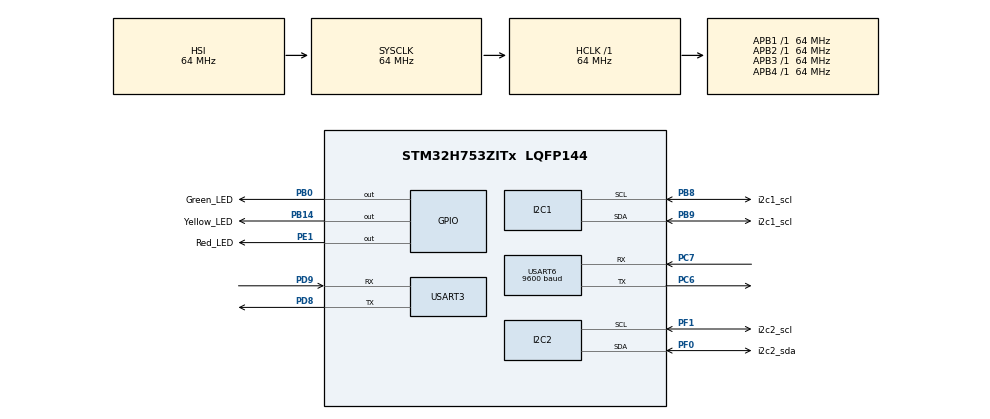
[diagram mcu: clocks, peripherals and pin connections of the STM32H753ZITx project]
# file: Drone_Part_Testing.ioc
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CORTEX_M7.default_mode_Activation=1
Mcu.Family=STM32H7
Mcu.Name=STM32H753ZITx
Mcu.Package=LQFP144
NVIC.PriorityGroup=NVIC_PRIORITYGROUP_4
PB0.GPIO_Label=Green_LED
PB0.Signal=GPIO_Output
PB14.GPIO_Label=Yellow_LED
PB14.Signal=GPIO_Output
PB8.GPIO_Label=i2c1_scl
PB8.Mode=I2C
PB8.Signal=I2C1_SCL
PB9.GPIO_Label=i2c1_scl
PB9.Mode=I2C
PB9.Signal=I2C1_SDA
PC6.Mode=Asynchronous
PC6.Signal=USART6_TX
PC7.Mode=Asynchronous
PC7.Signal=USART6_RX
PD8.Mode=Asynchronous
PD8.Signal=USART3_TX
PD9.GPIO_ModeDefaultPP=GPIO_MODE_AF_PP
PD9.GPIO_PuPd=GPIO_NOPULL
PD9.GPIO_Speed=GPIO_SPEED_FREQ_LOW
PD9.Mode=Asynchronous
PD9.Signal=USART3_RX
PE1.GPIO_Label=Red_LED
PE1.Signal=GPIO_Output
PF0.GPIO_Label=i2c2_sda
PF0.Mode=I2C
PF0.Signal=I2C2_SDA
PF1.GPIO_Label=i2c2_scl
PF1.Mode=I2C
PF1.Signal=I2C2_SCL
ProjectManager.HeapSize=0x200
ProjectManager.StackSize=0x400
ProjectManager.TargetToolchain=STM32CubeIDE
RCC.ADCFreq_Value=129000000
RCC.APB1Freq_Value=64000000
RCC.APB2Freq_Value=64000000
RCC.APB3Freq_Value=64000000
RCC.APB4Freq_Value=64000000
RCC.CortexFreq_Value=64000000
RCC.HCLKFreq_Value=64000000
RCC.SYSCLKFreq_VALUE=64000000
RCC.USBFreq_Value=129000000
USART3.VirtualMode-Asynchronous=VM_ASYNC
USART6.BaudRate=9600
USART6.DMADisableonRxErrorParam=ADVFEATURE_DMA_DISABLEONRXERROR
USART6.VirtualMode-Asynchronous=VM_ASYNC
VP_MEMORYMAP_VS_MEMORYMAP.Mode=CurAppReg
board=custom

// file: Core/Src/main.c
/* USER CODE BEGIN Header */
/**
 ******************************************************************************
 * @file           : main.c
 * @brief          : Main program body
 ******************************************************************************
 * @attention
 *
 * Copyright (c) 2025 STMicroelectronics.
 * All rights reserved.
 *
 * This software is licensed under terms that can be found in the LICENSE file
 * in the root directory of this software component.
 * If no LICENSE file comes with this software, it is provided AS-IS.
 *
 ******************************************************************************
 */
/* USER CODE END Header */
#include "main.h"

/* USER CODE BEGIN Includes */
#include <stdio.h>
#include "string.h"
#include "sensors/sensor_if.h"
#include "sensors/dps310.h"
#include "sensors/icm42688.h"
#include "sensors/gps6m.h"
/* USER CODE END Includes */

I2C_HandleTypeDef hi2c1;
I2C_HandleTypeDef hi2c2;

UART_HandleTypeDef huart3;
UART_HandleTypeDef huart6;

/* USER CODE BEGIN PV */
static sensor_if_t if_dps, if_icm, if_gps;
static dps310_t    dps;
static icm42688_t  icm;
static gps6m_t 	   gps;

/* USER CODE END PV */

void SystemClock_Config(void);
static void MPU_Config(void);
static void MX_GPIO_Init(void);
static void MX_I2C1_Init(void);
static void MX_USART3_UART_Init(void);
static void MX_I2C2_Init(void);
static void MX_USART6_UART_Init(void);
/* USER CODE BEGIN PFP */
void I2C_Scan(I2C_HandleTypeDef *hi2c);
/* USER CODE END PFP */

/* USER CODE BEGIN 0 */
typedef struct {
	float x;          // altitude (m)
	float v;          // vertical speed (m/s)
	float P00, P01, P10, P11;  // covariance
} AltKF;

static void altkf_init(AltKF *kf, float x0) {
	kf->x = x0; kf->v = 0.0f;
	kf->P00 = 10.0f; kf->P01 = 0.0f;
	kf->P10 = 0.0f;  kf->P11 = 10.0f;
}

static void altkf_predict(AltKF *kf, float dt, float Q_pos, float Q_vel) {
	// x = x + v*dt
	kf->x += kf->v * dt;
	// v = v
	// P = F P F' + Q, F = [[1 dt],[0 1]]
	float P00 = kf->P00 + dt*(kf->P10 + kf->P01) + dt*dt*kf->P11 + Q_pos;
	float P01 = kf->P01 + dt*kf->P11;
	float P10 = kf->P10 + dt*kf->P11;
	float P11 = kf->P11 + Q_vel;
	kf->P00=P00; kf->P01=P01; kf->P10=P10; kf->P11=P11;
}

static void altkf_update_scalar(AltKF *kf, float z, float R) {
	// H = [1 0]
	float y  = z - kf->x;
	float S  = kf->P00 + R;
	float K0 = kf->P00 / S;
	float K1 = kf->P10 / S;
	kf->x += K0 * y;
	kf->v += K1 * y;
	float P00 = (1.0f - K0) * kf->P00;
	float P01 = (1.0f - K0) * kf->P01;
	float P10 = kf->P10 - K1 * kf->P00;
	float P11 = kf->P11 - K1 * kf->P01;
	kf->P00=P00; kf->P01=P01; kf->P10=P10; kf->P11=P11;
}

/* Simple EMA smoother for GPS */
typedef struct {
	int    seeded;
	double lat_deg_f;
	double lon_deg_f;
	float  spd_mps_f;
	float  course_deg_f;
} GpsEMA;

static void gps_ema_reset(GpsEMA *f) { memset(f, 0, sizeof(*f)); }
static void gps_ema_update(GpsEMA *f, const gps6m_t *g, float alpha_latlon, float alpha_spd) {
	if (!f->seeded) {
		f->lat_deg_f = g->lat_deg;
		f->lon_deg_f = g->lon_deg;
		f->spd_mps_f = g->speed_mps;
		f->course_deg_f = g->course_deg;
		f->seeded = 1;
		return;
	}
	f->lat_deg_f = f->lat_deg_f + alpha_latlon * (g->lat_deg - f->lat_deg_f);
	f->lon_deg_f = f->lon_deg_f + alpha_latlon * (g->lon_deg - f->lon_deg_f);
	f->spd_mps_f = f->spd_mps_f + alpha_spd    * (g->speed_mps - f->spd_mps_f);
	// course is meaningless at low speed, keep last when speed < 0.5 m/s
	if (g->speed_mps > 0.5f) {
		float e = g->course_deg - f->course_deg_f;
		// wrap to [-180,180]
		while (e > 180.0f) e -= 360.0f;
		while (e < -180.0f) e += 360.0f;
		f->course_deg_f += alpha_spd * e;
		// wrap back to [0,360)
		if (f->course_deg_f < 0.0f)  f->course_deg_f += 360.0f;
		if (f->course_deg_f >= 360.0f) f->course_deg_f -= 360.0f;
	}
}

/* Baro <-> QNH helper: compute sea-level pressure P0 from local P,z */
static float baro_compute_P0(float P_pa, float alt_m) {
	// Standard atmosphere: P = P0 * (1 - L*h/T0)^(g*M/R/L)
	// Invert for P0. Constants for ISA:
	const float T0 = 288.15f;     // K
	const float L  = 0.0065f;     // K/m
	const float g0 = 9.80665f;    // m/s^2
	const float R  = 287.053f;    // J/(kg*K)
	const float expn = g0/(R*L);  // ~5.25588
	float ratio = 1.0f - (L*alt_m)/T0;
	if (ratio <= 0.0f) ratio = 0.0001f;
	float P0 = P_pa / powf(ratio, expn);
	return P0;  // Pa
}

/* Keep global filter state */
static AltKF  altkf;
static GpsEMA gpsf;
static uint8_t filters_seeded = 0;

/* One-step function you asked for: reads sensors, updates filters, and prints */
static void sensors_step(float dt_s,
		float Q_pos, float Q_vel,
		float R_baro, float R_gps,
		float ema_latlon_alpha, float ema_spd_alpha,
		float *alt_fused_out) {
	// 1) Read all devices (non-blocking reads)
	if_dps.vTable->read(&if_dps);
	if_icm.vTable->read(&if_icm);

	if (HAL_GetTick() - gps.last_update_ms > 150) {
		uint32_t t_end = HAL_GetTick() + 60;         // ~60 ms budget

		do {
			if_gps.vTable->read(&if_gps);
			if (HAL_GetTick() - gps.last_update_ms <= 50) break; // fresh enough
		} while ((int32_t)(HAL_GetTick() - t_end) < 0);

	} else {
		// still give it a light read so we don't fall behind
		if_gps.vTable->read(&if_gps);
	}

	// 2) Seed filters once we have a GPS fix
	if (!filters_seeded && gps.has_fix) {
		altkf_init(&altkf, gps.alt_m);  // start from GPS altitude
		gps_ema_reset(&gpsf);
		filters_seeded = 1;
	}

	// 3) Predict step for altitude KF
	altkf_predict(&altkf, dt_s, Q_pos, Q_vel);

	// 4) Baro absolute altitude, using your current DPS altitude.
	// If your dps.altitude already uses a good P0, this is fine.
	// Otherwise, compute dps.altitude yourself from pressure and a calibrated P0.
	float z_baro = (float)dps.altitude;

	// 5) Update with baro at high rate
	altkf_update_scalar(&altkf, z_baro, R_baro);

	// 6) If a fresh GPS fix is present, update with GPS altitude as absolute correction
	if (gps.has_fix) {
		altkf_update_scalar(&altkf, (float)gps.alt_m, R_gps);
		gps_ema_update(&gpsf, &gps, ema_latlon_alpha, ema_spd_alpha);
	}

	if (alt_fused_out) *alt_fused_out = altkf.x;

	// 7) Print once per call for visibility
	printf("ICM temp: %.2f C\r\n", icm.last_temp_c);
	printf("ICM Accel (g): [%.2f, %.2f, %.2f]\r\n", (double)icm.accel_g[0], (double)icm.accel_g[1], (double)icm.accel_g[2]);
	printf("ICM Gyro  (dps): [%.2f, %.2f, %.2f]\r\n", (double)icm.gyro_dps[0], (double)icm.gyro_dps[1], (double)icm.gyro_dps[2]);

	printf("DPS Pressure: %.2f Pa   Temp: %.2f C   Alt_raw: %.2f m\r\n",
			(double)dps.pressure, (double)dps.temperature, (double)dps.altitude);

	if (gps.has_fix) {
		printf("[gps] FIX sats=%u hdop=%.2f lat=%.6f lon=%.6f alt=%.1f m spd=%.2f m/s cog=%.1f utc=%06lu\r\n",
				gps.sats_used, gps.hdop, gpsf.lat_deg_f, gpsf.lon_deg_f, gps.alt_m,
				gpsf.spd_mps_f, gpsf.course_deg_f, (unsigned long)gps.utc_hms);
	} else {
		printf("[gps] NO FIX, sats=%u hdop=%.2f\r\n", gps.sats_used, gps.hdop);
	}

	printf("[fuse] alt_fused=%.2f m  v_z=%.2f m/s\r\n", (double)altkf.x, (double)altkf.v);
}
/* ========= END USER FILTERS ========= */

void I2C_Scan(I2C_HandleTypeDef *hi2c) {
	char msg[40];
	int found = 0;
	for (uint16_t addr = 0; addr < 128; addr++) {
		if (HAL_I2C_IsDeviceReady(hi2c, (addr << 1), 3, 10) == HAL_OK) {
			int n = snprintf(msg, sizeof(msg), "Found device at 0x%02X\r\n", addr);
			HAL_UART_Transmit(&huart3, (uint8_t*)msg, (uint16_t)n, HAL_MAX_DELAY);
			found = 1;
		}
	}
	if (!found) {
		const char *s = "No device found\r\n";
		HAL_UART_Transmit(&huart3, (uint8_t*)s, (uint16_t)strlen(s), HAL_MAX_DELAY);
	}
}

/* USER CODE END 0 */

int main(void)
{

	/* MPU Configuration--------------------------------------------------------*/
	MPU_Config();

	/* MCU Configuration--------------------------------------------------------*/

	/* Reset of all peripherals, Initializes the Flash interface and the Systick. */
	HAL_Init();

	/* Configure the system clock */
	SystemClock_Config();

	/* Initialize all configured peripherals */
	MX_GPIO_Init();
	MX_I2C1_Init();
	MX_USART3_UART_Init();
	MX_I2C2_Init();
	MX_USART6_UART_Init();
	/* USER CODE BEGIN 2 */
	setvbuf(stdout, NULL, _IONBF, 0);
	printf("BOOT\r\n");

	HAL_Delay(50);   // let sensors power up

	// Optional quick sanity scan
	// I2C_Scan(&hi2c1);
	// I2C_Scan(&hi2c2);

	// Bind drivers to their buses/addresses (adjust to your wiring)
	dps310_bind(&if_dps, &dps, &hi2c2, DPS_I2C_ADDRESS);  // 0x77 by default, 0x76 if SDO low
	icm42688_bind(&if_icm, &icm, &hi2c1, ICM_ADDR_7B);  // 0x68 or 0x69 depending on AD0
	gps6m_bind(&if_gps, &gps, &huart6);

	HAL_GPIO_WritePin(Red_LED_GPIO_Port, Red_LED_Pin, GPIO_PIN_SET);
	HAL_GPIO_WritePin(Yellow_LED_GPIO_Port, Yellow_LED_Pin, GPIO_PIN_SET);
	HAL_GPIO_WritePin(Green_LED_GPIO_Port, Green_LED_Pin, GPIO_PIN_SET);

	HAL_Delay(100);

	//	if (if_dps.vTable->probe(&if_dps) != HAL_OK)  printf("DPS310 probe FAIL\r\n");
	//	else                                      printf("DPS310 probe OK\r\n");
	//
	//	HAL_GPIO_WritePin(Red_LED_GPIO_Port, Red_LED_Pin, GPIO_PIN_RESET);
	//
	//	if (if_icm.vTable->probe(&if_icm) != HAL_OK)  printf("ICM42688 probe FAIL\r\n");
	//	else                                      printf("ICM42688 probe OK\r\n");
	//
	//	HAL_GPIO_WritePin(Yellow_LED_GPIO_Port, Yellow_LED_Pin, GPIO_PIN_RESET);
	//
	//	if (if_gps.vTable->probe(&if_gps) != HAL_OK)  printf("GPS probe FAIL\r\n");
	//	else                                      printf("GPS probe OK\r\n");
	//
	//	HAL_GPIO_WritePin(Green_LED_GPIO_Port, Green_LED_Pin, GPIO_PIN_RESET);

	// Init devices (config, coeffs, etc. — your driver stubs can be expanded later)
	HAL_StatusTypeDef response;
	response = if_icm.vTable->init(&if_icm);
	if (response != HAL_OK) while(1);

	HAL_GPIO_WritePin(Red_LED_GPIO_Port, Red_LED_Pin, GPIO_PIN_RESET);

	response =if_dps.vTable->init(&if_dps);
	if (response != HAL_OK) while(1);

	HAL_GPIO_WritePin(Yellow_LED_GPIO_Port, Yellow_LED_Pin, GPIO_PIN_RESET);

	response = if_gps.vTable->probe(&if_gps);
	if (response != HAL_OK) while(1);

	response =if_gps.vTable->init(&if_gps);
	if (response != HAL_OK) while(1);

	HAL_GPIO_WritePin(Green_LED_GPIO_Port, Green_LED_Pin, GPIO_PIN_RESET);

	/* USER CODE END 2 */

	/* Infinite loop */
	/* USER CODE BEGIN WHILE */
	uint32_t t_prev = HAL_GetTick();
	while (1)
	{
		uint32_t t_now = HAL_GetTick();
		float dt_s = (t_now - t_prev) * 0.001f;
		if (dt_s <= 0.0f || dt_s > 1.0f) dt_s = 0.01f; // guard
		t_prev = t_now;

		// Tuning knobs:
		const float Q_pos = 0.05f;    // process noise on position, m^2 per step
		const float Q_vel = 0.5f;     // process noise on velocity
		const float R_baro = 1.0f;    // baro meas var (m^2)
		const float R_gps  = 16.0f;   // gps meas var (m^2) ~4 m std^2

		const float EMA_LATLON = 0.15f; // 0..1, higher = less smoothing
		const float EMA_SPD    = 0.25f;

		float alt_fused = 0.0f;
		sensors_step(dt_s, Q_pos, Q_vel, R_baro, R_gps, EMA_LATLON, EMA_SPD, &alt_fused);

		// Example: light heartbeat and 10 Hz loop
		HAL_GPIO_TogglePin(Green_LED_GPIO_Port, Green_LED_Pin);
		HAL_Delay(100);

		/* USER CODE END WHILE */

	}
}

void SystemClock_Config(void)
{
	RCC_OscInitTypeDef RCC_OscInitStruct = {0};
	RCC_ClkInitTypeDef RCC_ClkInitStruct = {0};

	/** Supply configuration update enable
	 */
	HAL_PWREx_ConfigSupply(PWR_LDO_SUPPLY);

	/** Configure the main internal regulator output voltage
	 */
	__HAL_PWR_VOLTAGESCALING_CONFIG(PWR_REGULATOR_VOLTAGE_SCALE3);

	while(!__HAL_PWR_GET_FLAG(PWR_FLAG_VOSRDY)) {}

	/** Initializes the RCC Oscillators according to the specified parameters
	 * in the RCC_OscInitTypeDef structure.
	 */
	RCC_OscInitStruct.OscillatorType = RCC_OSCILLATORTYPE_HSI;
	RCC_OscInitStruct.HSIState = RCC_HSI_DIV1;
	RCC_OscInitStruct.HSICalibrationValue = RCC_HSICALIBRATION_DEFAULT;
	RCC_OscInitStruct.PLL.PLLState = RCC_PLL_NONE;
	if (HAL_RCC_OscConfig(&RCC_OscInitStruct) != HAL_OK)
	{
		Error_Handler();
	}

	/** Initializes the CPU, AHB and APB buses clocks
	 */
	RCC_ClkInitStruct.ClockType = RCC_CLOCKTYPE_HCLK|RCC_CLOCKTYPE_SYSCLK
			|RCC_CLOCKTYPE_PCLK1|RCC_CLOCKTYPE_PCLK2
			|RCC_CLOCKTYPE_D3PCLK1|RCC_CLOCKTYPE_D1PCLK1;
	RCC_ClkInitStruct.SYSCLKSource = RCC_SYSCLKSOURCE_HSI;
	RCC_ClkInitStruct.SYSCLKDivider = RCC_SYSCLK_DIV1;
	RCC_ClkInitStruct.AHBCLKDivider = RCC_HCLK_DIV1;
	RCC_ClkInitStruct.APB3CLKDivider = RCC_APB3_DIV1;
	RCC_ClkInitStruct.APB1CLKDivider = RCC_APB1_DIV1;
	RCC_ClkInitStruct.APB2CLKDivider = RCC_APB2_DIV1;
	RCC_ClkInitStruct.APB4CLKDivider = RCC_APB4_DIV1;

	if (HAL_RCC_ClockConfig(&RCC_ClkInitStruct, FLASH_LATENCY_1) != HAL_OK)
	{
		Error_Handler();
	}
}

static void MX_I2C1_Init(void)
{

	hi2c1.Instance = I2C1;
	hi2c1.Init.Timing = 0x10707DBC;
	hi2c1.Init.OwnAddress1 = 0;
	hi2c1.Init.AddressingMode = I2C_ADDRESSINGMODE_7BIT;
	hi2c1.Init.DualAddressMode = I2C_DUALADDRESS_DISABLE;
	hi2c1.Init.OwnAddress2 = 0;
	hi2c1.Init.OwnAddress2Masks = I2C_OA2_NOMASK;
	hi2c1.Init.GeneralCallMode = I2C_GENERALCALL_DISABLE;
	hi2c1.Init.NoStretchMode = I2C_NOSTRETCH_DISABLE;
	if (HAL_I2C_Init(&hi2c1) != HAL_OK)
	{
		Error_Handler();
	}

	/** Configure Analogue filter
	 */
	if (HAL_I2CEx_ConfigAnalogFilter(&hi2c1, I2C_ANALOGFILTER_ENABLE) != HAL_OK)
	{
		Error_Handler();
	}

	/** Configure Digital filter
	 */
	if (HAL_I2CEx_ConfigDigitalFilter(&hi2c1, 0) != HAL_OK)
	{
		Error_Handler();
	}

}

static void MX_I2C2_Init(void)
{

	hi2c2.Instance = I2C2;
	hi2c2.Init.Timing = 0x10707DBC;
	hi2c2.Init.OwnAddress1 = 0;
	hi2c2.Init.AddressingMode = I2C_ADDRESSINGMODE_7BIT;
	hi2c2.Init.DualAddressMode = I2C_DUALADDRESS_DISABLE;
	hi2c2.Init.OwnAddress2 = 0;
	hi2c2.Init.OwnAddress2Masks = I2C_OA2_NOMASK;
	hi2c2.Init.GeneralCallMode = I2C_GENERALCALL_DISABLE;
	hi2c2.Init.NoStretchMode = I2C_NOSTRETCH_DISABLE;
	if (HAL_I2C_Init(&hi2c2) != HAL_OK)
	{
		Error_Handler();
	}

	/** Configure Analogue filter
	 */
	if (HAL_I2CEx_ConfigAnalogFilter(&hi2c2, I2C_ANALOGFILTER_ENABLE) != HAL_OK)
	{
		Error_Handler();
	}

	/** Configure Digital filter
	 */
	if (HAL_I2CEx_ConfigDigitalFilter(&hi2c2, 0) != HAL_OK)
	{
		Error_Handler();
	}

}

static void MX_USART3_UART_Init(void)
{

	huart3.Instance = USART3;
	huart3.Init.BaudRate = 115200;
	huart3.Init.WordLength = UART_WORDLENGTH_8B;
	huart3.Init.StopBits = UART_STOPBITS_1;
	huart3.Init.Parity = UART_PARITY_NONE;
	huart3.Init.Mode = UART_MODE_TX_RX;
	huart3.Init.HwFlowCtl = UART_HWCONTROL_NONE;
	huart3.Init.OverSampling = UART_OVERSAMPLING_16;
	huart3.Init.OneBitSampling = UART_ONE_BIT_SAMPLE_DISABLE;
	huart3.Init.ClockPrescaler = UART_PRESCALER_DIV1;
	huart3.AdvancedInit.AdvFeatureInit = UART_ADVFEATURE_NO_INIT;
	if (HAL_UART_Init(&huart3) != HAL_OK)
	{
		Error_Handler();
	}
	if (HAL_UARTEx_SetTxFifoThreshold(&huart3, UART_TXFIFO_THRESHOLD_1_8) != HAL_OK)
	{
		Error_Handler();
	}
	if (HAL_UARTEx_SetRxFifoThreshold(&huart3, UART_RXFIFO_THRESHOLD_1_8) != HAL_OK)
	{
		Error_Handler();
	}
	if (HAL_UARTEx_DisableFifoMode(&huart3) != HAL_OK)
	{
		Error_Handler();
	}
	/* USER CODE BEGIN USART3_Init 2 */
	extern void retarget_init(UART_HandleTypeDef *huart);
	retarget_init(&huart3);
	printf("boot ok\n");
	/* USER CODE END USART3_Init 2 */

}

static void MX_USART6_UART_Init(void)
{

	huart6.Instance = USART6;
	huart6.Init.BaudRate = 9600;
	huart6.Init.WordLength = UART_WORDLENGTH_8B;
	huart6.Init.StopBits = UART_STOPBITS_1;
	huart6.Init.Parity = UART_PARITY_NONE;
	huart6.Init.Mode = UART_MODE_TX_RX;
	huart6.Init.HwFlowCtl = UART_HWCONTROL_NONE;
	huart6.Init.OverSampling = UART_OVERSAMPLING_16;
	huart6.Init.OneBitSampling = UART_ONE_BIT_SAMPLE_DISABLE;
	huart6.Init.ClockPrescaler = UART_PRESCALER_DIV1;
	huart6.AdvancedInit.AdvFeatureInit = UART_ADVFEATURE_DMADISABLEONERROR_INIT;
	huart6.AdvancedInit.DMADisableonRxError = UART_ADVFEATURE_DMA_DISABLEONRXERROR;
	if (HAL_UART_Init(&huart6) != HAL_OK)
	{
		Error_Handler();
	}
	if (HAL_UARTEx_SetTxFifoThreshold(&huart6, UART_TXFIFO_THRESHOLD_1_8) != HAL_OK)
	{
		Error_Handler();
	}
	if (HAL_UARTEx_SetRxFifoThreshold(&huart6, UART_RXFIFO_THRESHOLD_1_8) != HAL_OK)
	{
		Error_Handler();
	}
	if (HAL_UARTEx_DisableFifoMode(&huart6) != HAL_OK)
	{
		Error_Handler();
	}

}

static void MX_GPIO_Init(void)
{
	GPIO_InitTypeDef GPIO_InitStruct = {0};

	/* GPIO Ports Clock Enable */
	__HAL_RCC_GPIOF_CLK_ENABLE();
	__HAL_RCC_GPIOB_CLK_ENABLE();
	__HAL_RCC_GPIOD_CLK_ENABLE();
	__HAL_RCC_GPIOC_CLK_ENABLE();
	__HAL_RCC_GPIOE_CLK_ENABLE();

	/*Configure GPIO pin Output Level */
	HAL_GPIO_WritePin(GPIOB, Green_LED_Pin|Yellow_LED_Pin, GPIO_PIN_RESET);

	/*Configure GPIO pin Output Level */
	HAL_GPIO_WritePin(Red_LED_GPIO_Port, Red_LED_Pin, GPIO_PIN_RESET);

	/*Configure GPIO pins : Green_LED_Pin Yellow_LED_Pin */
	GPIO_InitStruct.Pin = Green_LED_Pin|Yellow_LED_Pin;
	GPIO_InitStruct.Mode = GPIO_MODE_OUTPUT_PP;
	GPIO_InitStruct.Pull = GPIO_NOPULL;
	GPIO_InitStruct.Speed = GPIO_SPEED_FREQ_LOW;
	HAL_GPIO_Init(GPIOB, &GPIO_InitStruct);

	/*Configure GPIO pin : Red_LED_Pin */
	GPIO_InitStruct.Pin = Red_LED_Pin;
	GPIO_InitStruct.Mode = GPIO_MODE_OUTPUT_PP;
	GPIO_InitStruct.Pull = GPIO_NOPULL;
	GPIO_InitStruct.Speed = GPIO_SPEED_FREQ_LOW;
	HAL_GPIO_Init(Red_LED_GPIO_Port, &GPIO_InitStruct);

}

/* MPU Configuration */

void MPU_Config(void)
{
	MPU_Region_InitTypeDef MPU_InitStruct = {0};

	/* Disables the MPU */
	HAL_MPU_Disable();

	/** Initializes and configures the Region and the memory to be protected
	 */
	MPU_InitStruct.Enable = MPU_REGION_ENABLE;
	MPU_InitStruct.Number = MPU_REGION_NUMBER0;
	MPU_InitStruct.BaseAddress = 0x0;
	MPU_InitStruct.Size = MPU_REGION_SIZE_4GB;
	MPU_InitStruct.SubRegionDisable = 0x87;
	MPU_InitStruct.TypeExtField = MPU_TEX_LEVEL0;
	MPU_InitStruct.AccessPermission = MPU_REGION_NO_ACCESS;
	MPU_InitStruct.DisableExec = MPU_INSTRUCTION_ACCESS_DISABLE;
	MPU_InitStruct.IsShareable = MPU_ACCESS_SHAREABLE;
	MPU_InitStruct.IsCacheable = MPU_ACCESS_NOT_CACHEABLE;
	MPU_InitStruct.IsBufferable = MPU_ACCESS_NOT_BUFFERABLE;

	HAL_MPU_ConfigRegion(&MPU_InitStruct);
	/* Enables the MPU */
	HAL_MPU_Enable(MPU_PRIVILEGED_DEFAULT);

}

void Error_Handler(void)
{
	__disable_irq();
	while (1)
	{
	}
}
